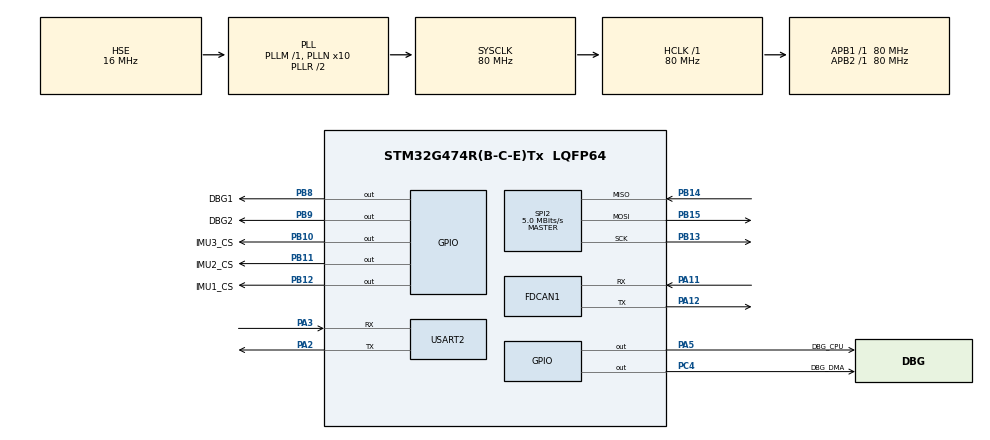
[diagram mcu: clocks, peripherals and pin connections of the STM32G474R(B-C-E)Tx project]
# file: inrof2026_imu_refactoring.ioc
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Dma.Request0=SPI2_TX
Dma.Request1=SPI2_RX
Dma.SPI2_RX.1.Direction=DMA_PERIPH_TO_MEMORY
Dma.SPI2_RX.1.EventEnable=DISABLE
Dma.SPI2_RX.1.Instance=DMA1_Channel2
Dma.SPI2_RX.1.MemDataAlignment=DMA_MDATAALIGN_BYTE
Dma.SPI2_RX.1.MemInc=DMA_MINC_ENABLE
Dma.SPI2_RX.1.Mode=DMA_NORMAL
Dma.SPI2_RX.1.PeriphDataAlignment=DMA_PDATAALIGN_BYTE
Dma.SPI2_RX.1.PeriphInc=DMA_PINC_DISABLE
Dma.SPI2_RX.1.Polarity=HAL_DMAMUX_REQ_GEN_RISING
Dma.SPI2_RX.1.Priority=DMA_PRIORITY_HIGH
Dma.SPI2_RX.1.RequestNumber=1
Dma.SPI2_RX.1.SignalID=NONE
Dma.SPI2_RX.1.SyncEnable=DISABLE
Dma.SPI2_RX.1.SyncPolarity=HAL_DMAMUX_SYNC_NO_EVENT
Dma.SPI2_RX.1.SyncRequestNumber=1
Dma.SPI2_RX.1.SyncSignalID=NONE
Dma.SPI2_TX.0.Direction=DMA_MEMORY_TO_PERIPH
Dma.SPI2_TX.0.EventEnable=DISABLE
Dma.SPI2_TX.0.Instance=DMA1_Channel1
Dma.SPI2_TX.0.MemDataAlignment=DMA_MDATAALIGN_BYTE
Dma.SPI2_TX.0.MemInc=DMA_MINC_ENABLE
Dma.SPI2_TX.0.Mode=DMA_NORMAL
Dma.SPI2_TX.0.PeriphDataAlignment=DMA_PDATAALIGN_BYTE
Dma.SPI2_TX.0.PeriphInc=DMA_PINC_DISABLE
Dma.SPI2_TX.0.Polarity=HAL_DMAMUX_REQ_GEN_RISING
Dma.SPI2_TX.0.Priority=DMA_PRIORITY_HIGH
Dma.SPI2_TX.0.RequestNumber=1
Dma.SPI2_TX.0.SignalID=NONE
Dma.SPI2_TX.0.SyncEnable=DISABLE
Dma.SPI2_TX.0.SyncPolarity=HAL_DMAMUX_SYNC_NO_EVENT
Dma.SPI2_TX.0.SyncRequestNumber=1
Dma.SPI2_TX.0.SyncSignalID=NONE
FDCAN1.CalculateBaudRateNominal=1000000
FDCAN1.CalculateTimeBitNominal=1000
FDCAN1.CalculateTimeQuantumNominal=50.0
FDCAN1.DataPrescaler=2
FDCAN1.DataTimeSeg1=15
FDCAN1.DataTimeSeg2=4
FDCAN1.FrameFormat=FDCAN_FRAME_FD_BRS
FDCAN1.NominalPrescaler=4
FDCAN1.NominalTimeSeg1=15
FDCAN1.NominalTimeSeg2=4
FDCAN1.StdFiltersNbr=1
Mcu.Family=STM32G4
Mcu.Name=STM32G474R(B-C-E)Tx
Mcu.Package=LQFP64
NVIC.DMA1_Channel1_IRQn=true\:0\:0\:false\:false\:true\:false\:true\:true
NVIC.DMA1_Channel2_IRQn=true\:0\:0\:false\:false\:true\:false\:true\:true
NVIC.FDCAN1_IT0_IRQn=true\:0\:0\:false\:false\:true\:true\:true\:true
NVIC.FDCAN1_IT1_IRQn=true\:0\:0\:false\:false\:true\:true\:true\:true
NVIC.PriorityGroup=NVIC_PRIORITYGROUP_4
NVIC.SPI2_IRQn=true\:0\:0\:false\:false\:true\:true\:true\:true
NVIC.TIM6_DAC_IRQn=true\:1\:0\:true\:false\:true\:true\:true\:true
PA11.Mode=FDCAN_Activate
PA11.Signal=FDCAN1_RX
PA12.Mode=FDCAN_Activate
PA12.Signal=FDCAN1_TX
PA2.Mode=Asynchronous
PA2.Signal=USART2_TX
PA3.Mode=Asynchronous
PA3.Signal=USART2_RX
PA5.GPIO_Label=DBG_CPU
PA5.Signal=GPIO_Output
PB10.GPIO_Label=IMU3_CS
PB10.PinState=GPIO_PIN_SET
PB10.Signal=GPIO_Output
PB11.GPIO_Label=IMU2_CS
PB11.PinState=GPIO_PIN_SET
PB11.Signal=GPIO_Output
PB12.GPIO_Label=IMU1_CS
PB12.PinState=GPIO_PIN_SET
PB12.Signal=GPIO_Output
PB13.Mode=Full_Duplex_Master
PB13.Signal=SPI2_SCK
PB14.Mode=Full_Duplex_Master
PB14.Signal=SPI2_MISO
PB15.Mode=Full_Duplex_Master
PB15.Signal=SPI2_MOSI
PB8-BOOT0.GPIO_Label=DBG1
PB8-BOOT0.Signal=GPIO_Output
PB9.GPIO_Label=DBG2
PB9.Signal=GPIO_Output
PC4.GPIO_Label=DBG_DMA
PC4.Signal=GPIO_Output
PF0-OSC_IN.Mode=HSE-External-Oscillator
PF0-OSC_IN.Signal=RCC_OSC_IN
PF1-OSC_OUT.Mode=HSE-External-Oscillator
PF1-OSC_OUT.Signal=RCC_OSC_OUT
ProjectManager.HeapSize=0x200
ProjectManager.StackSize=0x400
ProjectManager.TargetToolchain=CMake
RCC.ADC12Freq_Value=80000000
RCC.ADC345Freq_Value=80000000
RCC.AHBFreq_Value=80000000
RCC.APB1Freq_Value=80000000
RCC.APB1TimFreq_Value=80000000
RCC.APB2Freq_Value=80000000
RCC.APB2TimFreq_Value=80000000
RCC.CortexFreq_Value=80000000
RCC.EXTERNAL_CLOCK_VALUE=12288000
RCC.HCLKFreq_Value=80000000
RCC.HSE_VALUE=16000000
RCC.HSI48_VALUE=48000000
RCC.HSI_VALUE=16000000
RCC.LSE_VALUE=32768
RCC.PLLN=10
RCC.PLLSourceVirtual=RCC_PLLSOURCE_HSE
RCC.SYSCLKFreq_VALUE=80000000
RCC.SYSCLKSource=RCC_SYSCLKSOURCE_PLLCLK
RCC.USBFreq_Value=80000000
RCC.VCOOutputFreq_Value=160000000
SPI2.BaudRatePrescaler=SPI_BAUDRATEPRESCALER_16
SPI2.CLKPhase=SPI_PHASE_2EDGE
SPI2.CLKPolarity=SPI_POLARITY_HIGH
SPI2.CalculateBaudRate=5.0 MBits/s
SPI2.DataSize=SPI_DATASIZE_8BIT
SPI2.Direction=SPI_DIRECTION_2LINES
SPI2.Mode=SPI_MODE_MASTER
SPI2.VirtualType=VM_MASTER
TIM2.Prescaler=79
TIM6.PeriodNoDither=999
TIM6.Prescaler=79
USART2.VirtualMode-Asynchronous=VM_ASYNC
VP_SYS_VS_DBSignals.Mode=DisableDeadBatterySignals
VP_TIM2_VS_ClockSourceINT.Mode=Internal
VP_TIM6_VS_ClockSourceINT.Mode=Enable_Timer
board=custom

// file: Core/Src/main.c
/* USER CODE BEGIN Header */
/**
  ******************************************************************************
  * @file           : main.c
  * @brief          : Main program body
  ******************************************************************************
  * @attention
  *
  * Copyright (c) 2026 STMicroelectronics.
  * All rights reserved.
  *
  * This software is licensed under terms that can be found in the LICENSE file
  * in the root directory of this software component.
  * If no LICENSE file comes with this software, it is provided AS-IS.
  *
  ******************************************************************************
  */
/* USER CODE END Header */
#include "main.h"

/* USER CODE BEGIN Includes */
#include "macro.h"
#include "imu.h"
#include "data_convert.h"
#include <stdio.h>
#include <math.h>
#include <stdbool.h>
/* USER CODE END Includes */

/* USER CODE BEGIN PM */
#define R 30//mm  //radious of wheel
#define PPR 2000 //pulses per revolution
/* USER CODE END PM */

FDCAN_HandleTypeDef hfdcan1;

SPI_HandleTypeDef hspi2;
DMA_HandleTypeDef hdma_spi2_tx;
DMA_HandleTypeDef hdma_spi2_rx;

TIM_HandleTypeDef htim2;
TIM_HandleTypeDef htim6;

UART_HandleTypeDef huart2;

/* USER CODE BEGIN PV */
volatile uint8_t imu_data_ready = 0; // 割り込みフラグ
volatile uint8_t yaw_reset = 0; //yawのリセットフラグ

uint8_t last_value = 0;
IMUData imu_raw[3];
float gyro_x, gyro_y, gyro_z;
float accel_x, accel_y, accel_z;
float gyro_x_bias = 0.0f;
float gyro_y_bias = 0.0f;
float gyro_z_bias = 0.0f;

float beta = 0.1f; //Madgwickフィルタのゲイン
float roll, pitch, yaw;
float dt = 0.001f;
uint32_t preTime, now;
bool isSettingBias = 1;
float def_az = 0.0f;
float a_Ex = 0.0f;
float a_Ey = 0.0f;
float a_Ez = 0.0f;
float accelCVR; //mgをm/s^2に変換する時に掛ける
float vz = 0.0f; //z軸方向の速度
float z = 0.0f; //デバッグ用高さ
float current_yaw = 0.0f;      // 今回のヨー角 (-180~180)
float last_yaw = 0.0f;         // 前回のヨー角
float cumulative_yaw = 0.0f;    // 累積のヨー角（これが求めたいもの）
bool first_run = true;         // 初回判定用
bool has_previous_imu_sample = false;
//uint8_t txdata1_u8[8] = {0};
FDCAN_TxHeaderTypeDef TxHeader;

// for signal analysis
//bool started;

/* USER CODE END PV */

void SystemClock_Config(void);
static void MX_GPIO_Init(void);
static void MX_DMA_Init(void);
static void MX_FDCAN1_Init(void);
static void MX_SPI2_Init(void);
static void MX_USART2_UART_Init(void);
static void MX_TIM6_Init(void);
static void MX_TIM2_Init(void);
/* USER CODE BEGIN PFP */
void interboard_comms_CAN_filter_init(FDCAN_FilterTypeDef *Hfdcan_Filter_Settings);
void interboard_comms_CAN_txheader_init(FDCAN_TxHeaderTypeDef *Htxheader);
HAL_StatusTypeDef interboard_comms_CAN_RxTxSettings_init(FDCAN_TxHeaderTypeDef *Htxheader);
HAL_StatusTypeDef CAN_SEND(uint32_t CANID, uint32_t DataLength, uint8_t *txdata, FDCAN_HandleTypeDef *hfdcan, FDCAN_TxHeaderTypeDef *htxheader);
static int CAN_GetDataLength(uint32_t dlc);

float invSqrt(float x);
void MadgwickAHRSupdateIMU(float gx, float gy, float gz, float ax, float ay, float az, float dt);
void getEulerAngles();
void resetBias();
void update_cumulative_yaw();
void reset_cumulative_angle();

/* USER CODE END PFP */

/* USER CODE BEGIN 0 */
float q[4] = {1.0f, 0.0f, 0.0f, 0.0f}; //クォータニオン (w, x, y ,z)

int _write(int file,char *ptr,int len)
{
  HAL_UART_Transmit(&huart2, (uint8_t*)ptr, len, 10);
  return len;
}

void HAL_TIM_PeriodElapsedCallback(TIM_HandleTypeDef *htim){
	if (&htim6 == htim) { // 1000Hz
    imu_data_ready = 1;
  }
}

void HAL_FDCAN_RxFifo1Callback(FDCAN_HandleTypeDef *hfdcan, uint32_t RxFifo1ITs){
  //printf("a\r\n");
	if (RESET != (RxFifo1ITs & FDCAN_IT_RX_FIFO1_NEW_MESSAGE)) {

    /* Retrieve Rx messages from RX FIFO1 */
		uint8_t RxData[64] = {};
    FDCAN_RxHeaderTypeDef RxHeader;
		if (HAL_OK != HAL_FDCAN_GetRxMessage(&hfdcan1, FDCAN_RX_FIFO1, &RxHeader, RxData)) {
			printf("fdcan_getrxmessage is error\r\n");
			Error_Handler();
		}

    int len = CAN_GetDataLength(RxHeader.DataLength);

    switch (RxHeader.Identifier)
    {
      case CAN_ID_YAW_RESET: // change this value for testing. Reccommend to use an ID with privateDefined macro
        /* code */
        int32_t rxdata_i[16];
        //u8_to_int(RxData, rxdata_i, len);
        if (RxData[0] != last_value){
          yaw_reset = 1;
        }
        last_value = RxData[0];
        break;
      default:
        // printf("unknown CAN ID received: 0x%03lX\r\n", RxHeader.Identifier); // printf should be commented out within Callback
        break;
    }
	}
}

static uint32_t micros(void)
{
    return __HAL_TIM_GET_COUNTER(&htim2);
}
/* USER CODE END 0 */

int main(void)
{

  /* USER CODE BEGIN 1 */
  int loop_count = 0;
  setbuf(stdout, NULL);

  /* USER CODE END 1 */

  /* MCU Configuration--------------------------------------------------------*/

  /* Reset of all peripherals, Initializes the Flash interface and the Systick. */
  HAL_Init();

  /* Configure the system clock */
  SystemClock_Config();

  /* Initialize all configured peripherals */
  MX_GPIO_Init();
  MX_DMA_Init();
  MX_FDCAN1_Init();
  MX_SPI2_Init();
  MX_USART2_UART_Init();
  MX_TIM6_Init();
  MX_TIM2_Init();
  /* USER CODE BEGIN 2 */
  HAL_Delay(2000); //安定化するまで待機

  if (HAL_OK != interboard_comms_CAN_RxTxSettings_init(&TxHeader)) Error_Handler();
  //dev_ctx.handle = &my_i2c_handle;

  for (int i=1; i<=3; i++){
    readWhoami(i);
    INIT_IMU(i);
  }

  resetBias();
  //printf("bias resetted\r\n");
  //__HAL_SPI_CLEAR_OVRFLAG(&hspi2);

  HAL_TIM_Base_Start(&htim2); //NO Interrupt
  preTime = micros();
  HAL_TIM_Base_Start_IT(&htim6); //Interrupt
  /* USER CODE END 2 */

  /* Infinite loop */
  /* USER CODE BEGIN WHILE */
  while (1)
  {
    if (yaw_reset == 1){
      reset_cumulative_angle();
      yaw_reset = 0;
    }

    if (IMU_TakeSampleReady()) {
      loop_count++;

      IMU_CalculateCombined(imu_raw, &gyro_x, &gyro_y, &gyro_z, &accel_x, &accel_y, &accel_z, gyro_x_bias, gyro_y_bias, gyro_z_bias);
      now = micros();

      if (!has_previous_imu_sample) {
        preTime = now;
        has_previous_imu_sample = true;
      } else {
        dt = (float)(now - preTime) * 1.0e-6f;
        preTime = now;

        MadgwickAHRSupdateIMU(gyro_x, gyro_y, gyro_z, accel_x, accel_y, accel_z, dt);
        getEulerAngles(); //デバッグ用
        update_cumulative_yaw(); // ここで既存のfirst_runが基準yawを初期化
        //compensateGravity(accel_x, accel_y, accel_z);//重力補正
      }

      float txdata_q[1] = {cumulative_yaw};
      uint8_t txdata1_u8[4] = {0};
      float_to_u8(txdata_q, txdata1_u8, 1);
      CAN_SEND(CAN_ID_YAW_FEEDBACK, FDCAN_DLC_BYTES_4, txdata1_u8, &hfdcan1, &TxHeader);
    }

    if (imu_data_ready && !IMU_IsDmaBusy()){
      imu_data_ready = 0;
      DBG_CPU_ON();
      IMU_StartReadAllDMA(imu_raw);
      DBG_CPU_OFF();
    }

    /* 以下実走時はすべてコメントアウトすること！ */
    if (loop_count == 100){
      loop_count = 0;
      printf("test\r\n");
      //printf("%d,%d,%d\r\n",imu_raw[0].gx,imu_raw[1].gy,imu_raw[2].gz);
      printf("gx:%.2f gy:%.2f gz:%.2f\r\n",gyro_x,gyro_y,gyro_z);
      printf("ax:%.2f ay:%.2f az:%.2f\r\n",accel_x,accel_y,accel_z);
      //printf("%.4f,%.4f,%.4f,%.4f\r\n", q[0], q[1], q[2], -q[3]);
      printf("yaw:%.2f cumulative yaw:%.2f\r\n",yaw, cumulative_yaw);
      //printf("%d %d\r\n",txdata1_u8[6], txdata1_u8[7]);
      //printf("%d\r\n",(int)last_value);
      //printf("%d\r\n",(int)yaw_reset);
    }
    /* USER CODE END WHILE */

  }
}

void SystemClock_Config(void)
{
  RCC_OscInitTypeDef RCC_OscInitStruct = {0};
  RCC_ClkInitTypeDef RCC_ClkInitStruct = {0};

  /** Configure the main internal regulator output voltage
  */
  HAL_PWREx_ControlVoltageScaling(PWR_REGULATOR_VOLTAGE_SCALE1);

  /** Initializes the RCC Oscillators according to the specified parameters
  * in the RCC_OscInitTypeDef structure.
  */
  RCC_OscInitStruct.OscillatorType = RCC_OSCILLATORTYPE_HSE;
  RCC_OscInitStruct.HSEState = RCC_HSE_ON;
  RCC_OscInitStruct.PLL.PLLState = RCC_PLL_ON;
  RCC_OscInitStruct.PLL.PLLSource = RCC_PLLSOURCE_HSE;
  RCC_OscInitStruct.PLL.PLLM = RCC_PLLM_DIV1;
  RCC_OscInitStruct.PLL.PLLN = 10;
  RCC_OscInitStruct.PLL.PLLP = RCC_PLLP_DIV2;
  RCC_OscInitStruct.PLL.PLLQ = RCC_PLLQ_DIV2;
  RCC_OscInitStruct.PLL.PLLR = RCC_PLLR_DIV2;
  if (HAL_RCC_OscConfig(&RCC_OscInitStruct) != HAL_OK)
  {
    Error_Handler();
  }

  /** Initializes the CPU, AHB and APB buses clocks
  */
  RCC_ClkInitStruct.ClockType = RCC_CLOCKTYPE_HCLK|RCC_CLOCKTYPE_SYSCLK
                              |RCC_CLOCKTYPE_PCLK1|RCC_CLOCKTYPE_PCLK2;
  RCC_ClkInitStruct.SYSCLKSource = RCC_SYSCLKSOURCE_PLLCLK;
  RCC_ClkInitStruct.AHBCLKDivider = RCC_SYSCLK_DIV1;
  RCC_ClkInitStruct.APB1CLKDivider = RCC_HCLK_DIV1;
  RCC_ClkInitStruct.APB2CLKDivider = RCC_HCLK_DIV1;

  if (HAL_RCC_ClockConfig(&RCC_ClkInitStruct, FLASH_LATENCY_2) != HAL_OK)
  {
    Error_Handler();
  }
}

static void MX_FDCAN1_Init(void)
{

  hfdcan1.Instance = FDCAN1;
  hfdcan1.Init.ClockDivider = FDCAN_CLOCK_DIV1;
  hfdcan1.Init.FrameFormat = FDCAN_FRAME_FD_BRS;
  hfdcan1.Init.Mode = FDCAN_MODE_NORMAL;
  hfdcan1.Init.AutoRetransmission = DISABLE;
  hfdcan1.Init.TransmitPause = DISABLE;
  hfdcan1.Init.ProtocolException = DISABLE;
  hfdcan1.Init.NominalPrescaler = 4;
  hfdcan1.Init.NominalSyncJumpWidth = 1;
  hfdcan1.Init.NominalTimeSeg1 = 15;
  hfdcan1.Init.NominalTimeSeg2 = 4;
  hfdcan1.Init.DataPrescaler = 2;
  hfdcan1.Init.DataSyncJumpWidth = 1;
  hfdcan1.Init.DataTimeSeg1 = 15;
  hfdcan1.Init.DataTimeSeg2 = 4;
  hfdcan1.Init.StdFiltersNbr = 1;
  hfdcan1.Init.ExtFiltersNbr = 0;
  hfdcan1.Init.TxFifoQueueMode = FDCAN_TX_FIFO_OPERATION;
  if (HAL_FDCAN_Init(&hfdcan1) != HAL_OK)
  {
    Error_Handler();
  }

}

static void MX_SPI2_Init(void)
{

  /* SPI2 parameter configuration*/
  hspi2.Instance = SPI2;
  hspi2.Init.Mode = SPI_MODE_MASTER;
  hspi2.Init.Direction = SPI_DIRECTION_2LINES;
  hspi2.Init.DataSize = SPI_DATASIZE_8BIT;
  hspi2.Init.CLKPolarity = SPI_POLARITY_HIGH;
  hspi2.Init.CLKPhase = SPI_PHASE_2EDGE;
  hspi2.Init.NSS = SPI_NSS_SOFT;
  hspi2.Init.BaudRatePrescaler = SPI_BAUDRATEPRESCALER_16;
  hspi2.Init.FirstBit = SPI_FIRSTBIT_MSB;
  hspi2.Init.TIMode = SPI_TIMODE_DISABLE;
  hspi2.Init.CRCCalculation = SPI_CRCCALCULATION_DISABLE;
  hspi2.Init.CRCPolynomial = 7;
  hspi2.Init.CRCLength = SPI_CRC_LENGTH_DATASIZE;
  hspi2.Init.NSSPMode = SPI_NSS_PULSE_DISABLE;
  if (HAL_SPI_Init(&hspi2) != HAL_OK)
  {
    Error_Handler();
  }

}

static void MX_TIM2_Init(void)
{

  TIM_ClockConfigTypeDef sClockSourceConfig = {0};
  TIM_MasterConfigTypeDef sMasterConfig = {0};

  htim2.Instance = TIM2;
  htim2.Init.Prescaler = 79;
  htim2.Init.CounterMode = TIM_COUNTERMODE_UP;
  htim2.Init.Period = 4294967295;
  htim2.Init.ClockDivision = TIM_CLOCKDIVISION_DIV1;
  htim2.Init.AutoReloadPreload = TIM_AUTORELOAD_PRELOAD_DISABLE;
  if (HAL_TIM_Base_Init(&htim2) != HAL_OK)
  {
    Error_Handler();
  }
  sClockSourceConfig.ClockSource = TIM_CLOCKSOURCE_INTERNAL;
  if (HAL_TIM_ConfigClockSource(&htim2, &sClockSourceConfig) != HAL_OK)
  {
    Error_Handler();
  }
  sMasterConfig.MasterOutputTrigger = TIM_TRGO_RESET;
  sMasterConfig.MasterSlaveMode = TIM_MASTERSLAVEMODE_DISABLE;
  if (HAL_TIMEx_MasterConfigSynchronization(&htim2, &sMasterConfig) != HAL_OK)
  {
    Error_Handler();
  }

}

static void MX_TIM6_Init(void)
{

  TIM_MasterConfigTypeDef sMasterConfig = {0};

  htim6.Instance = TIM6;
  htim6.Init.Prescaler = 79;
  htim6.Init.CounterMode = TIM_COUNTERMODE_UP;
  htim6.Init.Period = 999;
  htim6.Init.AutoReloadPreload = TIM_AUTORELOAD_PRELOAD_DISABLE;
  if (HAL_TIM_Base_Init(&htim6) != HAL_OK)
  {
    Error_Handler();
  }
  sMasterConfig.MasterOutputTrigger = TIM_TRGO_RESET;
  sMasterConfig.MasterSlaveMode = TIM_MASTERSLAVEMODE_DISABLE;
  if (HAL_TIMEx_MasterConfigSynchronization(&htim6, &sMasterConfig) != HAL_OK)
  {
    Error_Handler();
  }

}

static void MX_USART2_UART_Init(void)
{

  huart2.Instance = USART2;
  huart2.Init.BaudRate = 115200;
  huart2.Init.WordLength = UART_WORDLENGTH_8B;
  huart2.Init.StopBits = UART_STOPBITS_1;
  huart2.Init.Parity = UART_PARITY_NONE;
  huart2.Init.Mode = UART_MODE_TX_RX;
  huart2.Init.HwFlowCtl = UART_HWCONTROL_NONE;
  huart2.Init.OverSampling = UART_OVERSAMPLING_16;
  huart2.Init.OneBitSampling = UART_ONE_BIT_SAMPLE_DISABLE;
  huart2.Init.ClockPrescaler = UART_PRESCALER_DIV1;
  huart2.AdvancedInit.AdvFeatureInit = UART_ADVFEATURE_NO_INIT;
  if (HAL_UART_Init(&huart2) != HAL_OK)
  {
    Error_Handler();
  }
  if (HAL_UARTEx_SetTxFifoThreshold(&huart2, UART_TXFIFO_THRESHOLD_1_8) != HAL_OK)
  {
    Error_Handler();
  }
  if (HAL_UARTEx_SetRxFifoThreshold(&huart2, UART_RXFIFO_THRESHOLD_1_8) != HAL_OK)
  {
    Error_Handler();
  }
  if (HAL_UARTEx_DisableFifoMode(&huart2) != HAL_OK)
  {
    Error_Handler();
  }

}

static void MX_DMA_Init(void)
{

  /* DMA controller clock enable */
  __HAL_RCC_DMAMUX1_CLK_ENABLE();
  __HAL_RCC_DMA1_CLK_ENABLE();

  /* DMA interrupt init */
  /* DMA1_Channel1_IRQn interrupt configuration */
  HAL_NVIC_SetPriority(DMA1_Channel1_IRQn, 0, 0);
  HAL_NVIC_EnableIRQ(DMA1_Channel1_IRQn);
  /* DMA1_Channel2_IRQn interrupt configuration */
  HAL_NVIC_SetPriority(DMA1_Channel2_IRQn, 0, 0);
  HAL_NVIC_EnableIRQ(DMA1_Channel2_IRQn);

}

static void MX_GPIO_Init(void)
{
  GPIO_InitTypeDef GPIO_InitStruct = {0};

  /* GPIO Ports Clock Enable */
  __HAL_RCC_GPIOF_CLK_ENABLE();
  __HAL_RCC_GPIOA_CLK_ENABLE();
  __HAL_RCC_GPIOC_CLK_ENABLE();
  __HAL_RCC_GPIOB_CLK_ENABLE();

  /*Configure GPIO pin Output Level */
  HAL_GPIO_WritePin(DBG_CPU_GPIO_Port, DBG_CPU_Pin, GPIO_PIN_RESET);

  /*Configure GPIO pin Output Level */
  HAL_GPIO_WritePin(DBG_DMA_GPIO_Port, DBG_DMA_Pin, GPIO_PIN_RESET);

  /*Configure GPIO pin Output Level */
  HAL_GPIO_WritePin(GPIOB, IMU3_CS_Pin|IMU2_CS_Pin|IMU1_CS_Pin, GPIO_PIN_SET);

  /*Configure GPIO pin Output Level */
  HAL_GPIO_WritePin(GPIOB, DBG1_Pin|DBG2_Pin, GPIO_PIN_RESET);

  /*Configure GPIO pin : DBG_CPU_Pin */
  GPIO_InitStruct.Pin = DBG_CPU_Pin;
  GPIO_InitStruct.Mode = GPIO_MODE_OUTPUT_PP;
  GPIO_InitStruct.Pull = GPIO_NOPULL;
  GPIO_InitStruct.Speed = GPIO_SPEED_FREQ_LOW;
  HAL_GPIO_Init(DBG_CPU_GPIO_Port, &GPIO_InitStruct);

  /*Configure GPIO pin : DBG_DMA_Pin */
  GPIO_InitStruct.Pin = DBG_DMA_Pin;
  GPIO_InitStruct.Mode = GPIO_MODE_OUTPUT_PP;
  GPIO_InitStruct.Pull = GPIO_NOPULL;
  GPIO_InitStruct.Speed = GPIO_SPEED_FREQ_LOW;
  HAL_GPIO_Init(DBG_DMA_GPIO_Port, &GPIO_InitStruct);

  /*Configure GPIO pins : IMU3_CS_Pin IMU2_CS_Pin IMU1_CS_Pin DBG1_Pin
                           DBG2_Pin */
  GPIO_InitStruct.Pin = IMU3_CS_Pin|IMU2_CS_Pin|IMU1_CS_Pin|DBG1_Pin
                          |DBG2_Pin;
  GPIO_InitStruct.Mode = GPIO_MODE_OUTPUT_PP;
  GPIO_InitStruct.Pull = GPIO_NOPULL;
  GPIO_InitStruct.Speed = GPIO_SPEED_FREQ_LOW;
  HAL_GPIO_Init(GPIOB, &GPIO_InitStruct);

}

/* USER CODE BEGIN 4 */
void interboard_comms_CAN_filter_init(FDCAN_FilterTypeDef *Hfdcan_Filter_Settings)
{
  Hfdcan_Filter_Settings->IdType = FDCAN_STANDARD_ID;
  Hfdcan_Filter_Settings->FilterIndex = 0;
  Hfdcan_Filter_Settings->FilterType = FDCAN_FILTER_RANGE;
  Hfdcan_Filter_Settings->FilterConfig = FDCAN_FILTER_TO_RXFIFO1;
  Hfdcan_Filter_Settings->FilterID1 = 0x00;
  Hfdcan_Filter_Settings->FilterID2 = 0x7ff;
}

void interboard_comms_CAN_txheader_init(FDCAN_TxHeaderTypeDef *Htxheader)
{
  Htxheader->Identifier = 0x00;
  Htxheader->IdType = FDCAN_STANDARD_ID;
  Htxheader->TxFrameType = FDCAN_DATA_FRAME;
  Htxheader->DataLength = FDCAN_DLC_BYTES_8;
  Htxheader->ErrorStateIndicator = FDCAN_ESI_ACTIVE;
  Htxheader->FDFormat = FDCAN_FD_CAN;
  Htxheader->BitRateSwitch = FDCAN_BRS_ON;
  Htxheader->TxEventFifoControl = FDCAN_NO_TX_EVENTS;
  Htxheader->MessageMarker = 0;
}

HAL_StatusTypeDef interboard_comms_CAN_RxTxSettings_init(FDCAN_TxHeaderTypeDef *Htxheader)
{
  FDCAN_FilterTypeDef FDCAN_Filter_settings;
  interboard_comms_CAN_filter_init(&FDCAN_Filter_settings);
  interboard_comms_CAN_txheader_init(Htxheader);
  if (HAL_OK != HAL_FDCAN_ConfigFilter(&hfdcan1, &FDCAN_Filter_settings))
  {
    printf("fdcan_configfilter is error\r\n");
    return HAL_ERROR;
  }
  if (HAL_OK != HAL_FDCAN_ConfigGlobalFilter(&hfdcan1, FDCAN_REJECT, FDCAN_FILTER_REJECT, FDCAN_FILTER_REMOTE, FDCAN_FILTER_REMOTE))
  {
    printf("fdcan_configglobalfilter is error\r\n");
    return HAL_ERROR;
  }
  if (HAL_OK != HAL_FDCAN_Start(&hfdcan1))
  {
    printf("fdcan_start is error\r\n");
    return HAL_ERROR;
  }
  if (HAL_OK != HAL_FDCAN_ActivateNotification(&hfdcan1, FDCAN_IT_RX_FIFO1_NEW_MESSAGE, 0))
  {
    printf("fdcan_activatenotification is error\r\n");
    return HAL_ERROR;
  }

  return HAL_OK;
}

HAL_StatusTypeDef CAN_SEND(uint32_t CANID, uint32_t DataLength, uint8_t *txdata, FDCAN_HandleTypeDef *hfdcan, FDCAN_TxHeaderTypeDef *htxheader)
{
  htxheader->DataLength = DataLength;
  htxheader->Identifier = CANID;
  if (HAL_OK != HAL_FDCAN_AddMessageToTxFifoQ(hfdcan, htxheader, txdata))
  {
    printf("addmessage error\r\n");
    return HAL_ERROR;
  }
  return HAL_OK;
}

int CAN_GetDataLength(uint32_t dlc){
  int len = 0;
  switch (dlc){
    case FDCAN_DLC_BYTES_0:
      len = 0;
      break;
    case FDCAN_DLC_BYTES_1:
      len = 1;
      break;
    case FDCAN_DLC_BYTES_2:
      len = 2;
      break;
    case FDCAN_DLC_BYTES_3:
      len = 3;
      break;
    case FDCAN_DLC_BYTES_4:
      len = 4;
      break;
    case FDCAN_DLC_BYTES_5:
      len = 5;
      break;
    case FDCAN_DLC_BYTES_6:
      len = 6;
      break;
    case FDCAN_DLC_BYTES_7:
      len = 7;
      break;
    case FDCAN_DLC_BYTES_8:
      len = 8;
      break;
    case FDCAN_DLC_BYTES_12:
      len = 12;
      break;
    case FDCAN_DLC_BYTES_16:
      len = 16;
      break;
    case FDCAN_DLC_BYTES_20:
      len = 20;
      break;
    case FDCAN_DLC_BYTES_24:
      len = 24;
      break;
    case FDCAN_DLC_BYTES_32:
      len = 32;
      break;
    case FDCAN_DLC_BYTES_48:
      len = 48;
      break;
    case FDCAN_DLC_BYTES_64:
      len = 64;
      break;
    default:
      break;
  }

  return len;
}

void resetBias(){
  // 起動時に1000回計測して平均をとる
  isSettingBias = 1;
  gyro_x_bias = 0.0f;
  gyro_y_bias = 0.0f;
  gyro_z_bias = 0.0f;
  def_az = 0.0f;

  for(int i=0; i<1000; i++) {
    IMU_ReadAll(imu_raw);

    gyro_x_bias += (float)(-imu_raw[1].gy + imu_raw[0].gy*SIN_30_DEG - imu_raw[0].gx*COS_30_DEG + imu_raw[2].gx*COS_30_DEG + imu_raw[2].gy*SIN_30_DEG);
    gyro_y_bias += (float)( imu_raw[1].gx - imu_raw[0].gy*COS_30_DEG - imu_raw[0].gx*SIN_30_DEG - imu_raw[2].gx*SIN_30_DEG + imu_raw[2].gy*COS_30_DEG);
    gyro_z_bias += (float)( imu_raw[0].gz + imu_raw[1].gz + imu_raw[2].gz );
    def_az += (float)(imu_raw[0].az + imu_raw[1].az +imu_raw[2].az);

    HAL_Delay(1);
  }

  gyro_x_bias = gyro_x_bias *IMU_GYRO_SENSITIVITY * 0.001f / 3.0f;
  gyro_y_bias = gyro_y_bias *IMU_GYRO_SENSITIVITY * 0.001f / 3.0f;
  gyro_z_bias = gyro_z_bias *IMU_GYRO_SENSITIVITY * 0.001f / 3.0f;
  def_az = def_az * IMU_ACCEL_SENSITIVITY *0.001f / 3.0f;
  accelCVR = 9.80665f/def_az;
  isSettingBias = 0;
}

float invSqrt(float x){
  return 1.0f / sqrtf(x);
}

void MadgwickAHRSupdateIMU(float gx, float gy, float gz, float ax, float ay, float az, float dt){
  float recipNorm;
  float s0, s1, s2, s3;
  float qDot1, qDot2, qDot3, qDot4;
  float _2q0, _2q1, _2q2, _2q3, _4q0, _4q1, _4q2, _8q1, _8q2, q0q0, q1q1, q2q2, q3q3;

  // 度/秒 を ラジアン/秒 に変換
  gx *= DEG_TO_RAD;
  gy *= DEG_TO_RAD;
  gz *= DEG_TO_RAD;

  // ジャイロによるクォータニオンの変化率
  qDot1 = 0.5f * (-q[1] * gx - q[2] * gy - q[3] * gz);
  qDot2 = 0.5f * (q[0] * gx + q[2] * gz - q[3] * gy);
  qDot3 = 0.5f * (q[0] * gy - q[1] * gz + q[3] * gx);
  qDot4 = 0.5f * (q[0] * gz + q[1] * gy - q[2] * gx);

  // 加速度が有効な場合のみ補正計算を行う
  if(!((ax == 0.0f) && (ay == 0.0f) && (az == 0.0f))) {
    recipNorm = invSqrt(ax * ax + ay * ay + az * az);
    ax *= recipNorm; ay *= recipNorm; az *= recipNorm;

    // 勾配降下法の計算
    _2q0 = 2.0f * q[0]; _2q1 = 2.0f * q[1]; _2q2 = 2.0f * q[2]; _2q3 = 2.0f * q[3];
    _4q0 = 4.0f * q[0]; _4q1 = 4.0f * q[1]; _4q2 = 4.0f * q[2];
    _8q1 = 8.0f * q[1]; _8q2 = 8.0f * q[2];
    q0q0 = q[0] * q[0]; q1q1 = q[1] * q[1]; q2q2 = q[2] * q[2]; q3q3 = q[3] * q[3];

    s0 = _4q0 * q2q2 + _2q2 * ax + _4q0 * q1q1 - _2q1 * ay;
    s1 = _4q1 * q3q3 - _2q3 * ax + 4.0f * q0q0 * q[1] - _2q0 * ay - _4q1 + _8q1 * q1q1 + _8q1 * q2q2 + _4q1 * az;
    s2 = 4.0f * q0q0 * q[2] + _2q0 * ax + _4q2 * q3q3 - _2q3 * ay - _4q2 + _8q2 * q1q1 + _8q2 * q2q2 + _4q2 * az;
    s3 = 4.0f * q1q1 * q[3] - _2q1 * ax + 4.0f * q2q2 * q[3] - _2q2 * ay;

    recipNorm = invSqrt(s0 * s0 + s1 * s1 + s2 * s2 + s3 * s3);
    s0 *= recipNorm; s1 *= recipNorm; s2 *= recipNorm; s3 *= recipNorm;

    qDot1 -= beta * s0; qDot2 -= beta * s1; qDot3 -= beta * s2; qDot4 -= beta * s3;
  }

  // 積分してクォータニオンを更新
  q[0] += qDot1 * dt; q[1] += qDot2 * dt; q[2] += qDot3 * dt; q[3] += qDot4 * dt;
  recipNorm = invSqrt(q[0] * q[0] + q[1] * q[1] + q[2] * q[2] + q[3] * q[3]);
  q[0] *= recipNorm; q[1] *= recipNorm; q[2] *= recipNorm; q[3] *= recipNorm;
}

void getEulerAngles(){
  roll  = atan2f(2.0f * (q[0] * q[1] + q[2] * q[3]), 1.0f - 2.0f * (q[1] * q[1] + q[2] * q[2])) * RAD_TO_DEG;
  pitch = asinf(2.0f * (q[0] * q[2] - q[3] * q[1])) * RAD_TO_DEG;
  yaw   = atan2f(2.0f * (q[0] * q[3] + q[1] * q[2]), 1.0f - 2.0f * (q[2] * q[2] + q[3] * q[3])) * RAD_TO_DEG;
}

void update_cumulative_yaw(){
  // 1. クォータニオンからヨー角(radian)を計算
  current_yaw = yaw;

  // 初回実行時は前回の値を現在の値で初期化
  if (first_run) {
      last_yaw = current_yaw;
      cumulative_yaw = 0.0; // ここを0にすることで、ここからの相対角になる
      first_run = false;
      return;
  }

  // 2. 前回からの変化量を計算
  float diff = current_yaw - last_yaw;

  // 3. 位相反転（アンラップ）処理
  // +180度付近から-180度付近へ飛んだ場合 (時計回り)
  if (diff < -180.0f) {
      diff += 360.0f;
  }
  // -180度付近から+180度付近へ飛んだ場合 (反時計回り)
  else if (diff > 180.0f) {
      diff -= 360.0f;
  }

  // 4. 累積値に加算
  cumulative_yaw += diff;

  // 次回のために現在の値を保存
  last_yaw = current_yaw;
}

void reset_cumulative_angle() {
    cumulative_yaw = 0.0;
    // last_yaw は現在の値のまま維持することで、リセット直後の飛びを防ぐ
}
/* USER CODE END 4 */

void Error_Handler(void)
{
  __disable_irq();
  while (1)
  {
  }
}
